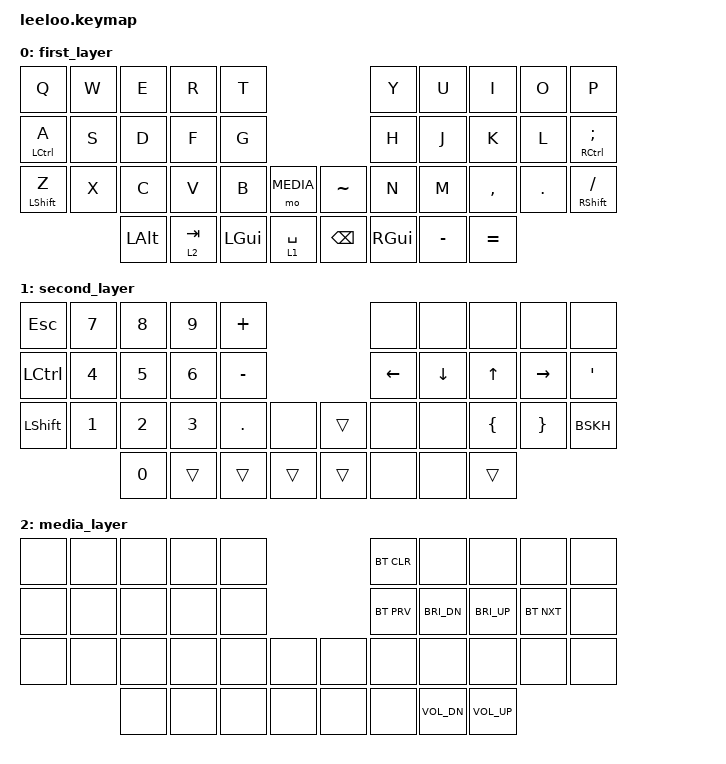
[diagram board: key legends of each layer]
/*
 * Copyright (c) 2022 The ZMK Contributors
 *
 * SPDX-License-Identifier: MIT
 */
#include <behaviors.dtsi>
#include <dt-bindings/zmk/outputs.h>
#include <dt-bindings/zmk/keys.h>
#include <dt-bindings/zmk/bt.h>

// Layers
#define FIRST      0
#define SECOND     1
#define MEDIA      2

&mt {
    tapping-term-ms = <200>;
};

/ {
    keymap {
        compatible = "zmk,keymap";


// =========================================================================================================================================================
        first_layer {
            bindings = <
// ┌───────────┬───────────┬───────────┬───────────┬───────────┬───────────┐       ┌───────────┬───────────┬───────────┬───────────┬───────────┬───────────┐
// │    Q(0)   │    W(1)   │    E(2)   │    R(3)   │    T(4)   │           │       │           │    Y(5)   │    U(6)   │    I(7)   │    O(8)   │    P(9)   │
     &kp Q       &kp W       &kp E       &kp R       &kp T                                       &kp Y       &kp U       &kp I       &kp O       &kp P
// │           │           │           │           │           │           │       │           │           │           │           │           │           │
// │   A(10)   │   S(11)   │    D(12)  │   F(13)   │   G(14)   │           │       │           │   H(15)   │   J(16)   │   K(17)   │   L(18)   │   ;(19)   │
     &mt LCTRL A  &kp S      &kp D       &kp F       &kp G                                       &kp H       &kp J       &kp K       &kp L       &mt RCTRL SEMI
// │           │           │           │           │           │           │       │           │           │           │           │           │           │
// │   Z(20)   │   X(21)   │   C(22)   │   V(23)   │   B(24)   │   ♡(25)   │       │   ~(26)   │   N(27)   │   M(28)   │   ,(29)   │   .(30)   │   /(31)   │
     &mt LSHIFT Z  &kp X     &kp C       &kp V       &kp B       &mo MEDIA           &kp TILDE   &kp N       &kp M       &kp COMMA   &kp DOT     &mt RSHIFT FSLH
// └───────────┴───────────┤           │           │           │           │       │           │           │           │           ├───────────┴───────────┘
//                         │  OPT(32)  │  TAB(33)  │  CMD(34)  │ SPACE(35) │       │ BSPC(36)  │  INF(37)  │   ↓(38)   │   ↑(39)   │
                             &kp LALT    &lt 2 TAB  &kp LGUI   &lt 1 SPACE           &kp BSPC    &kp RGUI    &kp MINUS   &kp EQUAL
//                         └───────────┴───────────┴───────────┴───────────┘       └───────────┴───────────┴───────────┴───────────┘
            >;
        };


// =========================================================================================================================================================
        second_layer {
            bindings = <
// ┌───────────┬───────────┬───────────┬───────────┬───────────┬───────────┐       ┌───────────┬───────────┬───────────┬───────────┬───────────┬───────────┐
// │    Q(0)   │    W(1)   │    E(2)   │    R(3)   │    T(4)   │           │       │           │    Y(5)   │    U(6)   │    I(7)   │    O(8)   │    P(9)   │
     &kp ESC     &kp N7      &kp N8      &kp N9      &kp PLUS                                    &none       &none       &none       &none       &none
// │           │           │           │           │           │           │       │           │           │           │           │           │           │
// │   A(10)   │   S(11)   │    D(12)  │   F(13)   │   G(14)   │           │       │           │   H(15)   │   J(16)   │   K(17)   │   L(18)   │   ;(19)   │
     &kp LCTRL   &kp N4      &kp N5      &kp N6      &kp MINUS                                   &kp LEFT    &kp DOWN    &kp UP      &kp RIGHT   &kp SINGLE_QUOTE
// │           │           │           │           │           │           │       │           │           │           │           │           │           │
// │   Z(20)   │   X(21)   │   C(22)   │   V(23)   │   B(24)   │   ♡(25)   │       │   ~(26)   │   N(27)   │   M(28)   │   ,(29)   │   .(30)   │   /(31)   │
     &kp LSHIFT  &kp N1      &kp N2      &kp N3      &kp DOT     &none               &trans      &none       &none       &kp LBRC    &kp RBRC    &kp BSKH
// └───────────┴───────────┤           │           │           │           │       │           │           │           │           ├───────────┴───────────┘
//                         │  OPT(32)  │  TAB(33)  │  CMD(34)  │ SPACE(35) │       │ BSPC(36)  │  INF(37)  │   ↓(38)   │   ↑(39)   │
                             &kp N0      &trans      &trans      &trans              &trans      &none       &none       &trans
//                         └───────────┴───────────┴───────────┴───────────┘       └───────────┴───────────┴───────────┴───────────┘
            >;
        };


// =========================================================================================================================================================
        media_layer {
            bindings = <
// ┌───────────┬───────────┬───────────┬───────────┬───────────┬───────────┐       ┌───────────┬───────────┬───────────┬───────────┬───────────┬───────────┐
// │    Q(0)   │    W(1)   │    E(2)   │    R(3)   │    T(4)   │           │       │           │    Y(5)   │    U(6)   │    I(7)   │    O(8)   │    P(9)   │
     &none       &none       &none       &none       &none                                       &bt BT_CLR  &none       &none       &none       &none
// │           │           │           │           │           │           │       │           │           │           │           │           │           │
// │   A(10)   │   S(11)   │    D(12)  │   F(13)   │   G(14)   │           │       │           │   H(15)   │   J(16)   │   K(17)   │   L(18)   │   ;(19)   │
     &none       &none       &none       &none       &none                                       &bt BT_PRV  &kp C_BRI_DN &kp C_BRI_UP &bt BT_NXT     &none
// │           │           │           │           │           │           │       │           │           │           │           │           │           │
// │   Z(20)   │   X(21)   │   C(22)   │   V(23)   │   B(24)   │   ♡(25)   │       │   ~(26)   │   N(27)   │   M(28)   │   ,(29)   │   .(30)   │   /(31)   │
     &none       &none       &none       &none       &none       &none               &none       &none       &none       &none       &none       &none
// └───────────┴───────────┤           │           │           │           │       │           │           │           │           ├───────────┴───────────┘
//                         │  OPT(32)  │  TAB(33)  │  CMD(34)  │ SPACE(35) │       │ BSPC(36)  │  INF(37)  │   ↓(38)   │   ↑(39)   │
                             &none       &none       &none       &none               &none       &none       &kp C_VOL_DN &kp C_VOL_UP
//                         └───────────┴───────────┴───────────┴───────────┘       └───────────┴───────────┴───────────┴───────────┘
            >;
        };
    };

    combos {
        combo_return {
            timeout-ms = <50>;
            key-positions = <10 19>;
            bindings = <&kp RETURN>;
        };
    };
};
